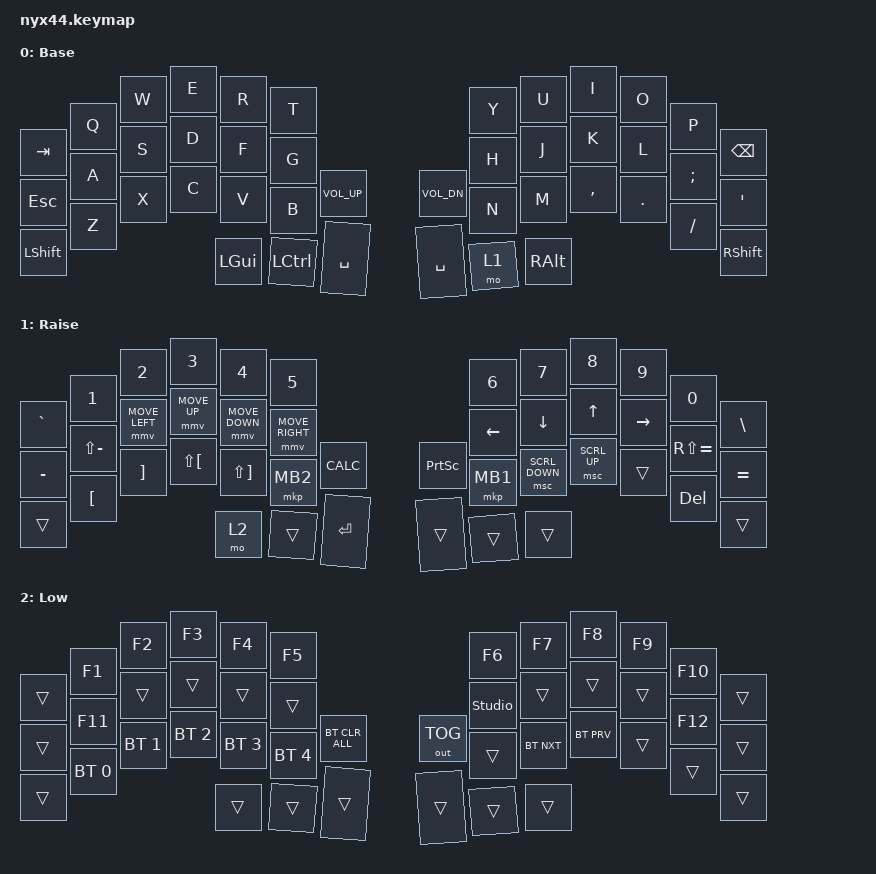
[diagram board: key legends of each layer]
#include <behaviors.dtsi>
#include <dt-bindings/zmk/keys.h>
#include <dt-bindings/zmk/bt.h>
#include <dt-bindings/zmk/pointing.h> 
#include <dt-bindings/zmk/outputs.h>

/ {
    keymap {
        compatible = "zmk,keymap";
        
        default_layer {
            display-name = "Base";
            bindings = <
            // ┌───────┬───────┬───────┬───────┬───────┬───────┐                 ┌───────┬───────┬───────┬───────┬───────┬───────┐
            // │  TAB  │   Q   │   W   │   E   │   R   │   T   │                 │   Y   │   U   │   I   │   O   │   P   │ BSPC  │
               &kp TAB  &kp Q   &kp W   &kp E   &kp R   &kp T                   &kp Y   &kp U   &kp I   &kp O   &kp P   &kp BSPC
            // ├───────┼───────┼───────┼───────┼───────┼───────┤                 ├───────┼───────┼───────┼───────┼───────┼───────┤
            // │  ESC  │   A   │   S   │   D   │   F   │   G   │                 │   H   │   J   │   K   │   L   │   ;   │   '   │
               &kp ESC  &kp A   &kp S   &kp D   &kp F   &kp G                   &kp H   &kp J   &kp K   &kp L   &kp SEMI &kp APOS
            // ├───────┼───────┼───────┼───────┼───────┼───────┼───────┐ ┌───────┼───────┼───────┼───────┼───────┼───────┼───────┤
            // │ LSHFT │   Z   │   X   │   C   │   V   │   B   │VOL_UP │ │VOL_DN │   N   │   M   │   ,   │   .   │   /   │ RSHFT │
               &kp LSHFT &kp Z  &kp X   &kp C   &kp V   &kp B  &kp C_VOL_UP &kp C_VOL_DN &kp N &kp M &kp COMMA &kp DOT &kp FSLH &kp RSHFT
            // └───────┴───────┴───────┴───────┼───────┼───────┼───────┤ ├───────┼───────┼───────┼───────┴───────┴───────┴───────┘
            //                                 │  GUI  │ LCTRL │ SPACE │ │ SPACE │  MO1  │ RALT  │
                                               &kp LGUI &kp LCTRL &kp SPACE &kp SPACE &mo 1 &kp RALT
            //                                 └───────┴───────┴───────┘ └───────┴───────┴───────┘
          >;
        }; 
        
        raise_layer {
            display-name = "Raise";
            bindings = <
            // ┌───────┬───────┬───────┬───────┬───────┬───────┐                 ┌───────┬───────┬───────┬───────┬───────┬───────┐
            // │ GRAVE │   1   │   2   │   3   │   4   │   5   │                 │   6   │   7   │   8   │   9   │   0   │   \   │
               &kp GRAVE &kp N1  &kp N2  &kp N3  &kp N4  &kp N5                  &kp N6  &kp N7  &kp N8  &kp N9  &kp N0  &kp BSLH
            // ├───────┼───────┼───────┼───────┼───────┼───────┤                 ├───────┼───────┼───────┼───────┼───────┼───────┤
            // │ MINUS │ S(-)  │  ML   │  MU   │  MD   │  MR   │                 │ LEFT  │ DOWN  │  UP   │ RIGHT │ S(=)  │   =   │
               &kp MINUS &kp LS(MINUS) &mmv MOVE_LEFT &mmv MOVE_UP &mmv MOVE_DOWN &mmv MOVE_RIGHT &kp LEFT &kp DOWN &kp UP &kp RIGHT &kp RS(EQUAL) &kp EQUAL
            // ├───────┼───────┼───────┼───────┼───────┼───────┼───────┐ ┌───────┼───────┼───────┼───────┼───────┼───────┼───────┤
            // │       │   [   │   ]   │ S([)  │ S(])  │  MB2  │ CALC  │ │ PSCRN │  MB1  │ SCRLD │ SCRLU │       │  DEL  │       │
               &trans   &kp LBKT &kp RBKT &kp LS(LBKT) &kp LS(RBKT) &mkp MB2 &kp K_CALC &kp PSCRN &mkp MB1 &msc SCRL_DOWN &msc SCRL_UP &trans &kp DEL &trans
            // └───────┴───────┴───────┴───────┼───────┼───────┼───────┤ ├───────┼───────┼───────┼───────┴───────┴───────┴───────┘
            //                                 │   MO2 │       │ ENTER │ │       │       │       │
                                               &mo 2   &trans   &kp ENTER &trans   &trans  &trans
            //                                 └───────┴───────┴───────┘ └───────┴───────┴───────┘
            >;
        };
      
        low_layer {
            display-name = "Low";
            bindings = <
            // ┌───────┬───────┬───────┬───────┬───────┬───────┐                 ┌───────┬───────┬───────┬───────┬───────┬───────┐
            // │       │  F1   │  F2   │  F3   │  F4   │  F5   │                 │  F6   │  F7   │  F8   │  F9   │  F10  │       │
               &trans   &kp F1  &kp F2  &kp F3  &kp F4  &kp F5                  &kp F6  &kp F7  &kp F8  &kp F9  &kp F10 &trans
            // ├───────┼───────┼───────┼───────┼───────┼───────┤                 ├───────┼───────┼───────┼───────┼───────┼───────┤
            // │       │  F11  │       │       │       │       │                 │  ULST │       │       │       │  F12  │       │
               &trans   &kp F11 &trans  &trans  &trans  &trans                  &studio_unlock  &trans  &trans  &trans  &kp F12 &trans
            // ├───────┼───────┼───────┼───────┼───────┼───────┼───────┐ ┌───────┼───────┼───────┼───────┼───────┼───────┼───────┤
            // │       │  BT0  │  BT1  │  BT2  │  BT3  │  BT4  │ BTCLR │ │ OUT_T │       │ BT_NX │ BT_PR │       │       │       │
               &trans   &bt BT_SEL 0 &bt BT_SEL 1 &bt BT_SEL 2 &bt BT_SEL 3 &bt BT_SEL 4 &bt BT_CLR_ALL &out OUT_TOG &trans &bt BT_NXT &bt BT_PRV &trans &trans &trans
            // └───────┴───────┴───────┴───────┼───────┼───────┼───────┤ ├───────┼───────┼───────┼───────┴───────┴───────┴───────┘
            //                                 │       │       │       │ │       │       │       │
                                               &trans   &trans  &trans   &trans   &trans  &trans
            //                                 └───────┴───────┴───────┘ └───────┴───────┴───────┘
            >;
        };
    };
};
